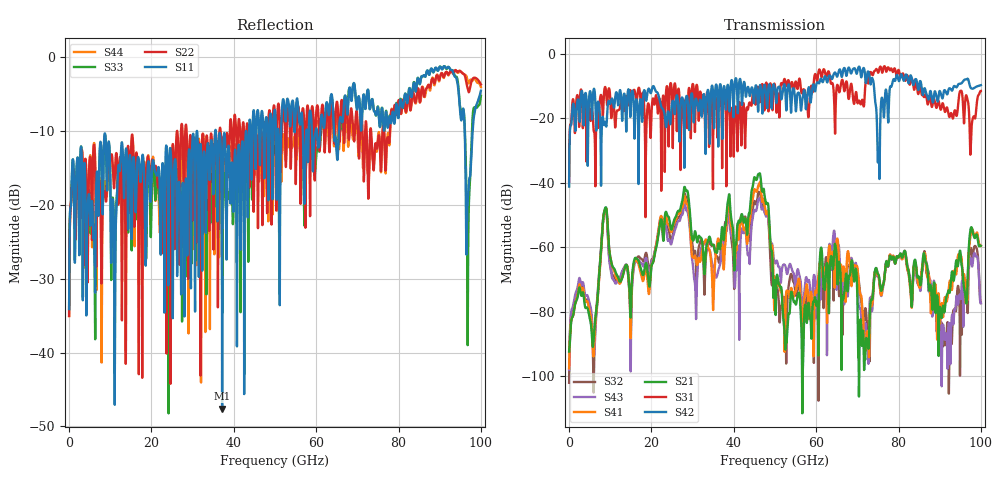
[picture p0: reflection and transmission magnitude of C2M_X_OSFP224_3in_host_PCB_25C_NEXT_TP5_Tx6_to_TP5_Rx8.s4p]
# GHz S RI R 45
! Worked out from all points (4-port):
!   4000 points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, 25 MHz to 100 GHz, reference 45 ohm
!   strongest paths, dB at 25 MHz, 25.02 GHz, 50.02 GHz, 75.03 GHz, 100 GHz:
!     S42: -41.2, -15.3, -11.0, -33.0, -9.8
!     S31: -39.7, -14.6, -10.1, -5.9, -11.6
!     S21: -92.3, -54.0, -73.5, -68.3, -59.5
!     S41: -97.5, -54.5, -75.1, -68.7, -59.5
!     S43: -98.0, -58.0, -65.0, -68.9, -77.4
!     S32: -102.0, -57.3, -70.4, -68.3, -77.2
!   lowest |S11| = -47.6 dB at 37.17 GHz (marker M1), VSWR 1.01, Z = 45.4 - j0.133 ohm
!   |S11| at or under -10 dB: start of sweep to 31.03 GHz; 31.1 GHz to 35.5 GHz (4.396 GHz wide, 13.2 % of centre); 35.65 GHz to 42.96 GHz (7.31 GHz wide, 18.6 % of centre) (the widest 3 of 19)
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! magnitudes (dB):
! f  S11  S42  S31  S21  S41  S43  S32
! 25 MHz  -34.1  -41.2  -39.7  -92.3  -97.5  -98.0  -102.0
! 8.775 GHz  -10.4  -21.2  -10.3  -47.9  -48.3  -48.5  -48.1
! 14.9 GHz  -13.8  -19.6  -11.4  -79.6  -84.5  -84.0  -81.8
! 37.17 GHz  -47.6  -24.0  -35.5  -53.7  -59.2  -60.3  -56.9
! 46.17 GHz  -10.4  -11.6  -12.3  -37.2  -40.4  -45.0  -43.0
! 52.42 GHz  -7.4  -10.2  -8.1  -89.5  -87.4  -65.6  -77.2
! 100 GHz  -4.5  -9.8  -11.6  -59.5  -59.5  -77.4  -77.2
